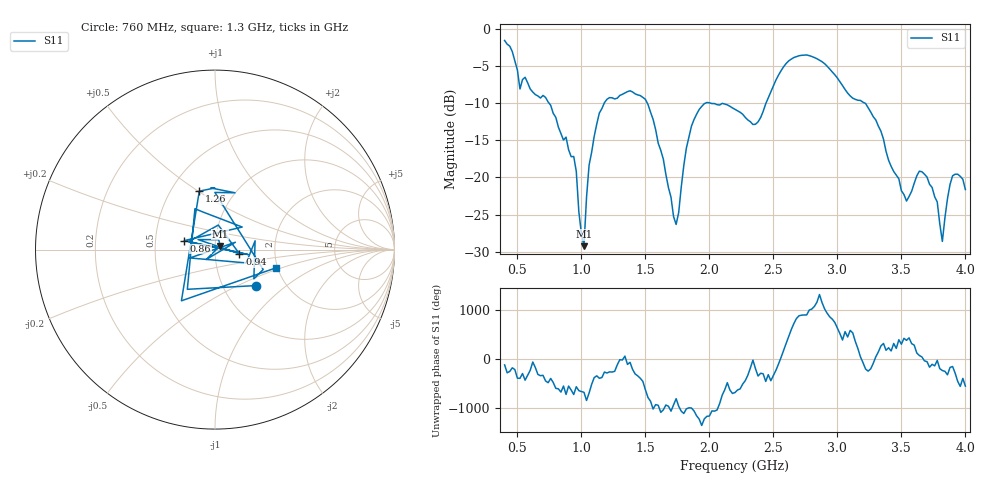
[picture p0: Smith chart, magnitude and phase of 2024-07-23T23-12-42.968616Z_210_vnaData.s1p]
!Created with skrf (http://scikit-rf.org).
# Hz S RI R 50.0
!freq ReS11 ImS11
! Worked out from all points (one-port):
!   181 points, 400 MHz to 4 GHz, reference 50 ohm
!   lowest |S11| = -29.2 dB at 1.02 GHz (marker M1), VSWR 1.07, Z = 52.8 + j2.16 ohm
!   |S11| at or under -10 dB: 1.515 GHz to 1.97 GHz (455.5 MHz wide, 26.1 % of centre); 2.007 GHz to 2.442 GHz (434.8 MHz wide, 19.5 % of centre); 3.214 GHz to end of sweep (the widest 3 of 4)
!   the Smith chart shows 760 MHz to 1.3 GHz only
!   S11 on the Smith chart (normalised r, x): 760 MHz: 1.44, -0.63; 860 MHz: 0.70, +0.07; 940 MHz: 1.31, -0.06; 1.26 GHz: 0.69, +0.51; 1.3 GHz: 1.97, -0.46
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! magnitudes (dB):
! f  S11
! 400 MHz  -1.6
! 520 MHz  -8.1
! 560 MHz  -6.5
! 760 MHz  -10.3
! 860 MHz  -15.0
! 940 MHz  -17.2
! 1.02 GHz  -29.2
! 1.06 GHz  -18.4
! 1.12 GHz  -12.8
! 1.26 GHz  -9.4
! 1.3 GHz  -9.0
! 1.52 GHz  -10.2
! 1.72 GHz  -25.3
! 1.76 GHz  -24.7
! 1.82 GHz  -16.1
! 1.9 GHz  -11.5
! 2.2 GHz  -10.8
! 2.36 GHz  -12.8
! 2.66 GHz  -3.9
! 2.88 GHz  -4.4
! 3.1 GHz  -9.0
! 3.3 GHz  -12.3
! 3.56 GHz  -22.6
! 3.7 GHz  -20.0
! 3.78 GHz  -23.3
! 3.82 GHz  -28.6
! 3.9 GHz  -19.8
! 4 GHz  -21.6
